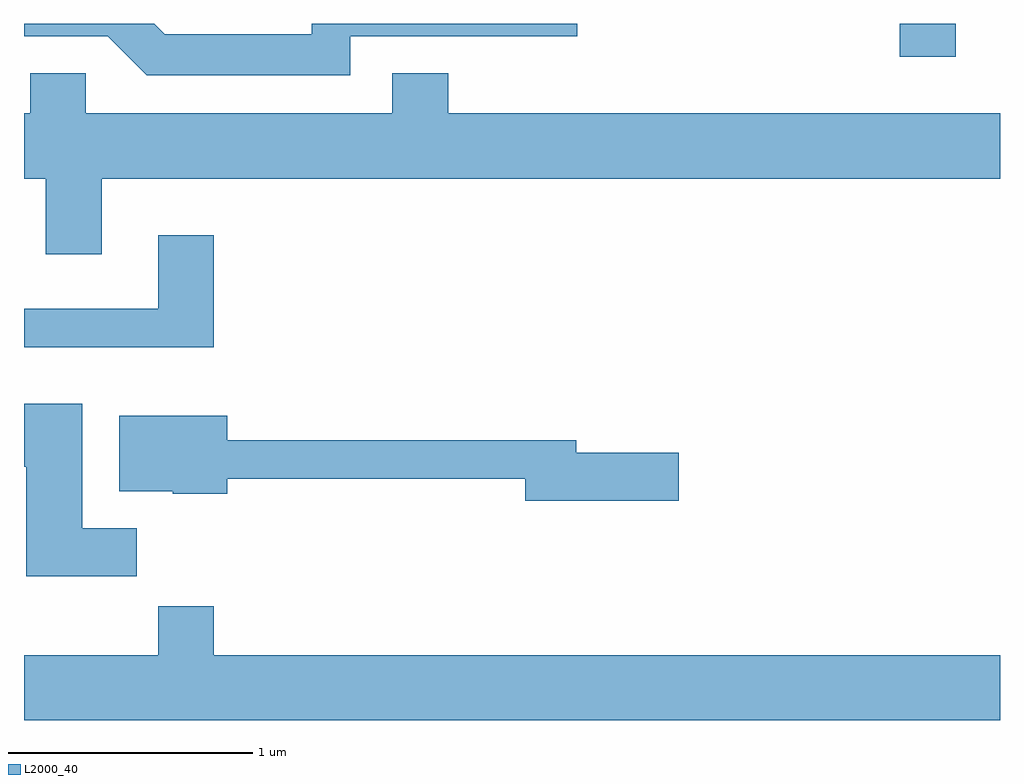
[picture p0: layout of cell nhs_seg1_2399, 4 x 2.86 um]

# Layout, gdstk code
import gdstk
lib = gdstk.Library(unit=1e-6, precision=1e-09)
def R(c, l, rs):  # rectangles x0, y0, x1, y1
    for r in rs: c.add(gdstk.rectangle(r[:2], r[2:], *l))
def P(c, l, *ps):  # polygons
    for p in ps: c.add(gdstk.Polygon(p, *l))
L2000_40 = (2000, 40)

nhs_seg1_2399 = lib.new_cell('nhs_seg1_2399')
R(nhs_seg1_2399, L2000_40, [(261.201,955.576,261.429,955.712)])
P(nhs_seg1_2399, L2000_40, [(258.949,955.661),(259.878,955.661),(259.878,955.712),(258.791,955.712),(258.791,955.669),(258.187,955.669),(258.144,955.712),(257.611,955.712),(257.611,955.661),(257.954,955.661),(258.114,955.501),(258.949,955.501)],
  [(257.929,955.076),(261.611,955.076),(261.611,955.344),(259.349,955.344),(259.349,955.509),(259.121,955.509),(259.121,955.344),(257.864,955.344),(257.864,955.509),(257.636,955.509),(257.636,955.344),(257.611,955.344),(257.611,955.076),(257.701,955.076),(257.701,954.766),(257.929,954.766)],
  [(258.389,954.844),(258.161,954.844),(258.161,954.544),(257.611,954.544),(257.611,954.386),(258.389,954.386)],
  [(258.074,953.644),(257.849,953.644),(257.849,954.154),(257.611,954.154),(257.611,953.896),(257.621,953.896),(257.621,953.446),(258.074,953.446)],
  [(260.294,953.954),(259.874,953.954),(259.874,954.004),(258.444,954.004),(258.444,954.104),(258.001,954.104),(258.001,953.796),(258.22,953.796),(258.22,953.786),(258.444,953.786),(258.444,953.846),(259.666,953.846),(259.666,953.756),(260.294,953.756)],
  [(261.611,953.124),(258.389,953.124),(258.389,953.324),(258.161,953.324),(258.161,953.124),(257.611,953.124),(257.611,952.856),(261.611,952.856)])

lib.write_gds('nhs_seg1_2399.gds')
